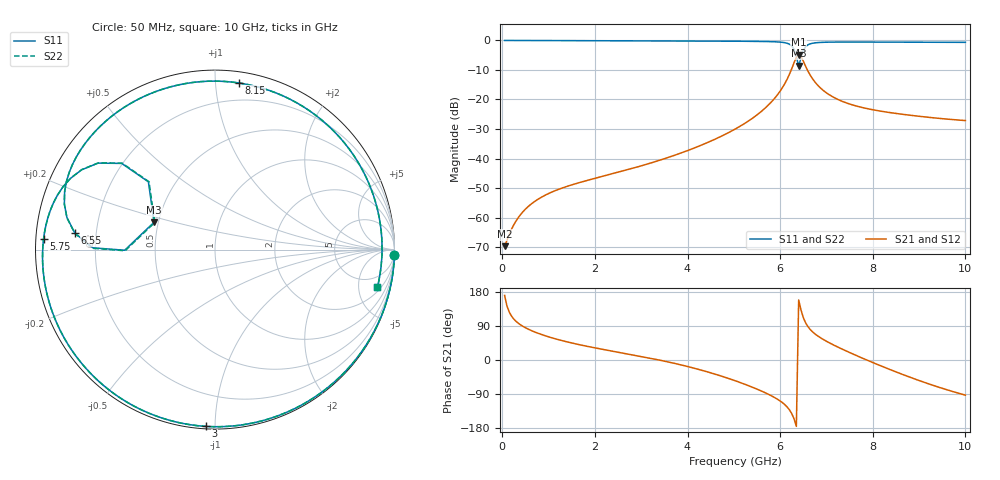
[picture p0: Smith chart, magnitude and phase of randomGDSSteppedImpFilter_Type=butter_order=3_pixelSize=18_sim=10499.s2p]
! freq	dB(S11)	phase(S11)	dB(S12)	phase(S12)
!  dB(S21)	phase(S21)	dB(S22)	phase(S22)
!S-par simulation data
#  GHz  S  DB  R 50
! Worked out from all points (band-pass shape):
!   200 points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, 50 MHz to 10 GHz, reference 50 ohm
!   highest |S21| = -4.76 dB at 6.4 GHz (marker M1); lowest = -69.7 dB at 50 MHz (marker M2)
!   |S21| within 3 dB of the highest: 6.295 GHz to 6.521 GHz (226.7 MHz wide, 3.54 % of centre)
!   lowest |S11| = -8.6 dB at 6.4 GHz (marker M3), VSWR 2.19, Z = 23.7 + j8.38 ohm
!   |S11| at or under -10 dB: nowhere
!   |S22| runs from -8.7 to 0.0 dB; largest |S21 - S12| = 0
!   S11 on the Smith chart (normalised r, x): 50 MHz: 0, -72; 3 GHz: 0.01, -0.95; 5.75 GHz: 0.02, +0.03; 6.55 GHz: 0.12, +0.06; 8.15 GHz: 0.07, +1.15; 10 GHz: 2.61, -7.94
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0.05  -0.00 -1.6  -69.69 170.6  -69.69 170.6  -0.00 -1.6
0.3  -0.00 -9.6  -61.07 101.6  -61.07 101.6  -0.00 -9.6
0.6  -0.02 -19.2  -55.72 79.1  -55.72 79.1  -0.02 -19.2
1.75  -0.07 -55.1  -47.77 38.2  -47.77 38.2  -0.07 -55.1
3  -0.12 -93.0  -42.48 9.4  -42.48 9.4  -0.12 -93.0
3.4  -0.14 -105.0  -40.57 -0.4  -40.57 -0.4  -0.14 -105.1
4.2  -0.18 -129.5  -36.09 -23.5  -36.09 -23.5  -0.18 -129.5
5.05  -0.25 -157.0  -29.83 -55.6  -29.83 -55.6  -0.25 -157.0
5.75  -0.38 176.6  -21.81 -90.7  -21.81 -90.7  -0.38 176.5
6.05  -0.64 161.1  -15.96 -112.6  -15.96 -112.6  -0.64 161.0
6.25  -1.83 143.5  -9.58 -141.3  -9.58 -141.3  -1.83 143.4
6.35  -5.53 134.5  -5.67 -175.3  -5.67 -175.3  -5.56 134.2
6.4  -8.59 155.8  -4.76 158.4  -4.76 158.4  -8.68 155.8
6.45  -5.97 -179.6  -5.40 132.1  -5.40 132.1  -6.01 -179.3
6.55  -2.09 173.3  -8.76 98.0  -8.76 98.0  -2.10 173.5
6.7  -0.94 159.0  -12.99 74.3  -12.99 74.3  -0.94 159.1
7  -0.59 140.6  -17.76 49.4  -17.76 49.4  -0.59 140.7
7.4  -0.53 120.2  -20.99 25.2  -20.99 25.2  -0.53 120.3
8.15  -0.56 81.9  -23.90 -14.3  -23.90 -14.3  -0.56 81.9
8.35  -0.57 71.4  -24.39 -24.2  -24.39 -24.2  -0.56 71.4
9.2  -0.60 26.4  -26.03 -62.7  -26.03 -62.7  -0.60 26.4
10  -0.64 -13.0  -27.12 -92.8  -27.12 -92.8  -0.64 -13.0
